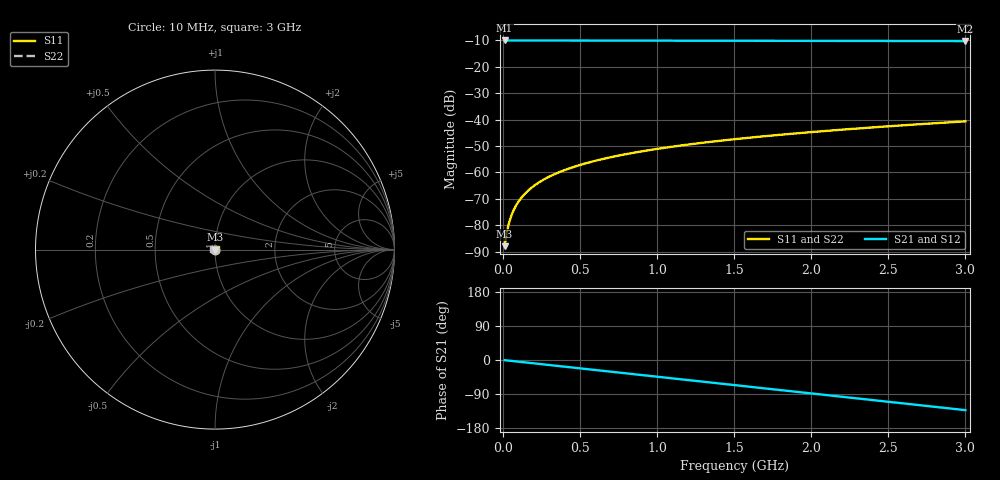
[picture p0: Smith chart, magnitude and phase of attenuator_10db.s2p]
! Touchstone 2-Port S-Parameter Data
! Circuit: 10 dB RF Pi-Attenuator (50Ω, DC-3GHz)
! Substrate: FR4 (er=4.4, h=1.6mm)
! Transmission Line: CPWG (w=1.87mm, s=0.40mm, eps_eff=2.88)
! Simulation Mode: traces
# GHz S MA R 50.0
! Freq(GHz)  S11_mag S11_ang  S21_mag S21_ang  S12_mag S12_ang  S22_mag S22_ang
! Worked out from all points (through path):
!   201 points, 10 MHz to 3 GHz, reference 50 ohm
!   highest |S21| = -10.01 dB at 10 MHz (marker M1); lowest = -10.2 dB at 3 GHz (marker M2)
!   group delay of S21, straight-line fit = 123 ps
!   lowest |S11| = -88.0 dB at 10 MHz (marker M3), VSWR 1.00, Z = 50 - j0.00275 ohm
!   |S11| at or under -10 dB: start of sweep to end of sweep
!   |S22| runs from -88.0 to -40.5 dB; largest |S21 - S12| = 0
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0.01  4e-05 -136.7  0.316 -0.4  0.316 -0.4  4e-05 -136.2
0.0249  7.5e-05 -114.4  0.316 -1.1  0.316 -1.1  7.5e-05 -113.3
0.0399  0.000114 -107.5  0.3159 -1.8  0.3159 -1.8  0.000114 -105.8
0.0549  0.000155 -104.8  0.3159 -2.4  0.3159 -2.4  0.000155 -102.5
0.0698  0.000196 -103.7  0.3159 -3.1  0.3159 -3.1  0.000196 -100.7
0.0848  0.000237 -103.4  0.3158 -3.7  0.3158 -3.7  0.000237 -99.8
0.0997  0.000278 -103.5  0.3158 -4.4  0.3158 -4.4  0.000278 -99.2
0.1296  0.00036 -104.4  0.3157 -5.7  0.3157 -5.7  0.000361 -98.9
0.1446  0.000402 -105.1  0.3157 -6.4  0.3157 -6.4  0.000402 -98.9
0.1894  0.000525 -107.5  0.3156 -8.3  0.3156 -8.3  0.000526 -99.4
0.2492  0.000691 -111.3  0.3154 -11.0  0.3154 -11.0  0.000692 -100.7
0.324  0.000897 -116.5  0.3153 -14.3  0.3153 -14.3  0.000899 -102.6
0.4137  0.001145 -122.9  0.315 -18.2  0.315 -18.2  0.001149 -105.2
0.5183  0.001435 -130.6  0.3148 -22.9  0.3148 -22.9  0.001441 -108.4
0.623  0.001726 -138.4  0.3145 -27.5  0.3145 -27.5  0.001735 -111.7
0.7426  0.002061 -147.3  0.3142 -32.8  0.3142 -32.8  0.002072 -115.5
1.0117  0.002822 -167.7  0.3135 -44.6  0.3135 -44.6  0.002843 -124.4
1.2359  0.003469 175.3  0.3129 -54.5  0.3129 -54.5  0.003501 -131.8
1.505  0.004265 154.7  0.3122 -66.4  0.3122 -66.4  0.004313 -140.9
2.0133  0.005844 115.5  0.3107 -88.8  0.3107 -88.8  0.005932 -158.4
2.5067  0.007493 77.1  0.3093 -110.5  0.3093 -110.5  0.007635 -175.7
3  0.009279 38.3  0.3077 -132.3  0.3077 -132.3  0.00949 166.7
